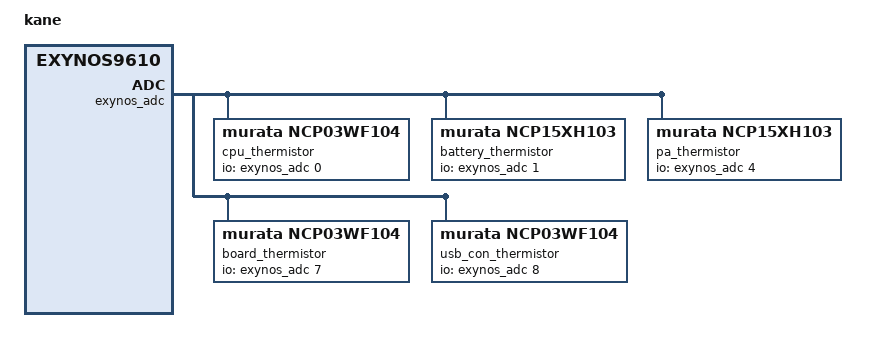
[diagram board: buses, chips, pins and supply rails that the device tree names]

/ {
	fragment@model {
		target-path = "/";
		__overlay__ {
			model = "kane";
			mot,soc-id = <0xE9610000>;
			mot,board-id = <0x41 0xA100>;

			utags {
				compatible = "mmi,utags";
				mmi,main-utags = "/dev/block/platform/13520000.ufs/by-name/utags";
				mmi,backup-utags = "/dev/block/platform/13520000.ufs/by-name/utagsBackup";
			};

			hw {
				compatible = "mmi,utags";
				mmi,dir-name = "hw";
				mmi,main-utags = "/dev/block/platform/13520000.ufs/by-name/hw";
			};

			aov-trigger {
				status = "okay";
				compatible = "mmi,aov-trigger";
			};

		};
	};
};

&exynos_adc {
	status = "okay";
	cpu_thermistor {
		compatible = "murata,ncp03wf104";
		status = "okay";
		pullup-uv = <1800000>;
		pullup-ohm = <100000>;
		pulldown-ohm = <0>;
		io-channels = <&exynos_adc 0>;
		io-channel-names = "cpu_therm";
	};
	battery_thermistor {
		compatible = "murata,ncp15xh103";
		status = "okay";
		pullup-uv = <1800000>;
		pullup-ohm = <100000>;
		pulldown-ohm = <0>;
		io-channels = <&exynos_adc 1>;
		io-channel-names = "bat_therm";
	};
	pa_thermistor {
		compatible = "murata,ncp15xh103";
		status = "okay";
		pullup-uv = <1800000>;
		pullup-ohm = <0>;
		pulldown-ohm = <10000>;
		io-channels = <&exynos_adc 4>;
		io-channel-names = "pa_therm";
		connected-positive;
	};
	board_thermistor {
		compatible = "murata,ncp03wf104";
		status = "okay";
		pullup-uv = <1800000>;
		pullup-ohm = <100000>;
		pulldown-ohm = <0>;
		io-channels = <&exynos_adc 7>;
		io-channel-names = "board_therm";
	};
	usb_con_thermistor {
		compatible = "murata,ncp03wf104";
		status = "okay";
		pullup-uv = <1800000>;
		pullup-ohm = <100000>;
		pulldown-ohm = <0>;
		io-channels = <&exynos_adc 8>;
		io-channel-names = "usb_con_therm";
	};
};

